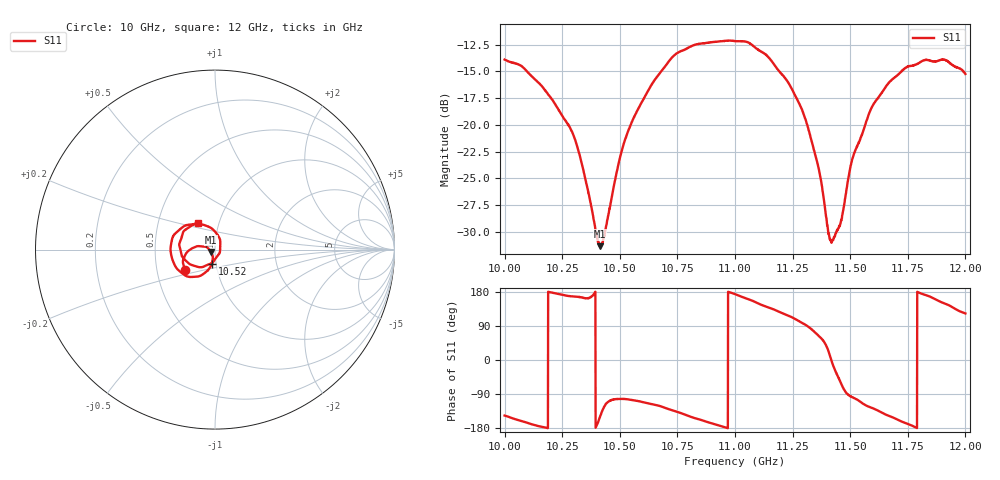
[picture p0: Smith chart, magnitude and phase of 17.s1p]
[Version] 2.0
! Rohde & Schwarz Vector Network Analyzer
! Rohde-Schwarz,ZNL20-2Port,1323001220200009,1.71.1.10-23.02.1.238
! Port Assignments:
! Nominal Port -> Actual Test Port
!  1 -> 1
! Created: GMT 2024-08-27 12:55:04
# Hz S DB R 50
[Number of Ports] 1
! freq[Hz]  S11[mag dB]  S11[ang]
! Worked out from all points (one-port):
!   2001 points, 10 GHz to 12 GHz, reference 50 ohm
!   lowest |S11| = -31.3 dB at 10.41 GHz (marker M1), VSWR 1.06, Z = 47.7 - j1.3 ohm
!   |S11| at or under -10 dB: start of sweep to end of sweep
!   S11 on the Smith chart (normalised r, x): 10 GHz: 0.70, -0.16; 10.52 GHz: 0.95, -0.15; 12 GHz: 0.80, +0.24
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[Number of Frequencies] 28
[Network Data]
1e10  -13.89 -146.6
1.0084e10  -14.70 -163.0
1.025e10  -19.14 172.1
1.0315e10  -21.99 166.9
1.0361e10  -26.03 162.9
1.0401e10  -30.50 -170.5
1.0414e10  -31.33 -149.8
1.0433e10  -30.39 -122.3
1.05e10  -23.09 -102.6
1.0515e10  -21.93 -102.7
1.0629e10  -16.56 -115.2
1.075e10  -13.26 -137.0
1.0855e10  -12.38 -158.6
1.1e10  -12.16 173.7
1.1133e10  -13.40 141.2
1.125e10  -16.75 111.8
1.1299e10  -19.05 95.4
1.1352e10  -23.10 70.0
1.1374e10  -25.27 57.4
1.1404e10  -29.88 25.9
1.1416e10  -30.85 2.7
1.1459e10  -29.07 -59.9
1.15e10  -24.00 -95.5
1.1598e10  -18.18 -127.3
1.167e10  -15.99 -147.9
1.175e10  -14.56 -168.6
1.1905e10  -13.89 150.3
1.2e10  -15.23 122.9
[End]
